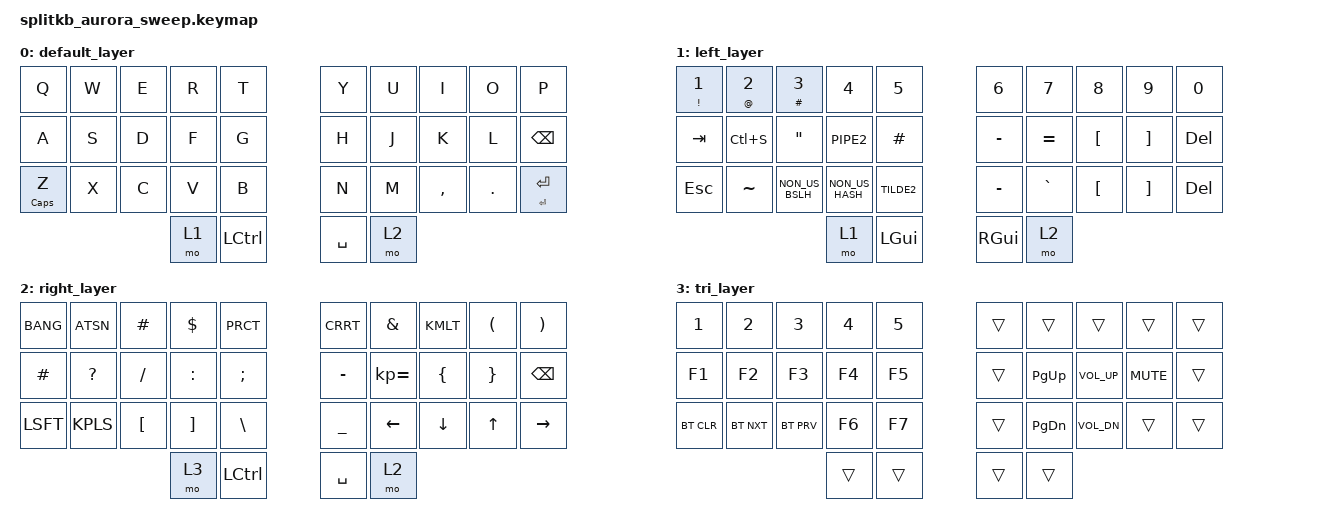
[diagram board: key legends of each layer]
/*
 * Copyright (c) 2022 The ZMK Contributors
 *
 * SPDX-License-Identifier: MIT
 */

#include <behaviors.dtsi>
#include <dt-bindings/zmk/bt.h>
#include <dt-bindings/zmk/keys.h>

&mt {
    //  flavor = "tap-preferred";
    // tapping_term_ms = <200>;
};

/ {
    combos {
        compatible = "zmk,combos";

        combo_esc {
            timeout-ms = <50>;
            key-positions = <0 1>;
            bindings = <&kp ESC>;
        };

        combo_tab {
            timeout-ms = <50>;
            key-positions = <10 11>;
            bindings = <&kp TAB>;
        };

        combo_ralt {
            timeout-ms = <50>;
            key-positions = <17 16>;
            bindings = <&kp RALT>;
        };

        combo_lalt {
            timeout-ms = <50>;
            key-positions = <11 12>;
            bindings = <&kp LALT>;
        };

        combo_lgui {
            timeout-ms = <50>;
            key-positions = <12 13>;
            bindings = <&kp LGUI>;
        };

        combo_rgui {
            timeout-ms = <50>;
            key-positions = <17 18>;
            bindings = <&kp RGUI>;
        };
    };

    keymap {
        compatible = "zmk,keymap";

        default_layer {
            bindings = <
&kp Q           &kp W     &kp E  &kp R  &kp T    &kp Y  &kp U  &kp I      &kp O    &kp P
&kp A           &kp S     &kp D  &kp F  &kp G    &kp H  &kp J  &kp K      &kp L    &kp BACKSPACE
&mt CAPSLOCK Z  &kp X     &kp C  &kp V  &kp B    &kp N  &kp M  &kp COMMA  &kp DOT  &mt RET RET
&mo 1           &kp LCTL                                                  &kp SPC  &mo 2
            >;
        };

        //    __________________________________________________________________________________________________
        //    |       ||       ||       ||       ||       |        |       ||       ||       ||       ||       |
        //    |   1   ||   2   ||   3   ||   4   ||   5   |        |   6   ||   7   ||   8   ||   9   ||   0   |
        //    |       ||       ||       ||       ||       |        |       ||       ||       ||       ||       |
        //    --------------------------------------------------------------------------------------------------
        //    |       ||       ||       ||       ||       |        |       ||       ||       ||       ||       |
        //    |  Tab  ||       ||       ||   |   ||       |        |   -   ||   =   ||   [   ||   ]   || Canc  |
        //    |       ||       ||       ||       ||       |        |       ||       ||       ||       ||       |
        //    --------------------------------------------------------------------------------------------------
        //    |       ||       ||       ||       ||       |        |       ||       ||       ||       ||       |
        //    |  Esc  || Tilde ||       ||       || Tilde2|        |   -   ||   '   ||   (   ||   )   || Canc  |
        //    |       ||       ||       ||       ||       |        |       ||       ||       ||       ||       |
        //    --------------------------------------------------------------------------------------------------
        //                               |       ||       |        |       ||       |
        //                               |       ||       |        |       ||       |
        //                               |       ||       |        |       ||       |
        //                               -------------------------------------------

        left_layer {
            bindings = <
&mt EXCLAMATION NUMBER_1  &mt AT_SIGN NUMBER_2  &mt HASH NUMBER_3  &kp NUMBER_4     &kp N5        &kp NUMBER_6  &kp N7     &kp N8    &kp N9    &kp N0
&kp TAB                   &kp LC(S)             &kp DQT            &kp PIPE2        &kp HASH      &kp MINUS     &kp EQL    &kp LBKT  &kp RBKT  &kp DEL
&kp ESC                   &kp TILDE             &kp NON_US_BSLH    &kp NON_US_HASH  &kp TILDE2    &kp MINUS     &kp GRAVE  &kp LBKT  &kp RBKT  &kp DEL
&mo 1                     &kp LGUI                                                                                                   &kp RGUI  &mo 2
            >;
        };

        //    __________________________________________________________________________________________________
        //    |       ||       ||       ||       ||       |        |       ||       ||       ||       ||       |
        //    |       ||       ||       ||       ||       |        |       ||       ||       ||       ||       |
        //    |       ||       ||       ||       ||       |        |       ||       ||       ||       ||       |
        //    --------------------------------------------------------------------------------------------------
        //    |       ||       ||       ||       ||       |        |       ||       ||       ||       ||       |
        //    |       ||       ||       ||       ||       |        |   -   ||       ||       ||       ||       |
        //    |       ||       ||       ||       ||       |        |       ||       ||       ||       ||       |
        //    --------------------------------------------------------------------------------------------------
        //    |       ||       ||       ||       ||       |        |       ||       ||       ||       ||       |
        //    |       ||       ||       ||       ||       |        |       || Left  ||  Down ||  Up   || Right |
        //    |       ||       ||       ||       ||       |        |       ||       ||       ||       ||       |
        //    --------------------------------------------------------------------------------------------------
        //                               |       ||       |        |       ||       |
        //                               |       ||       |        |       ||       |
        //                               |       ||       |        |       ||       |
        //                               -------------------------------------------

        right_layer {
            bindings = <
&kp BANG  &kp ATSN   &kp HASH  &kp DLLR  &kp PRCT    &kp CRRT   &kp AMPS      &kp KMLT  &kp LPRN  &kp RPRN
&kp HASH  &kp QMARK  &kp FSLH  &kp COLN  &kp SCLN    &kp MINUS  &kp KP_EQUAL  &kp LBRC  &kp RBRC  &kp BKSP
&kp LSFT  &kp KPLS   &kp LBKT  &kp RBKT  &kp BSLH    &kp UNDER  &kp LEFT      &kp DOWN  &kp UP    &kp RIGHT
&mo 3     &kp LCTL                                                                      &kp SPC   &mo 2
            >;
        };

        tri_layer {
            bindings = <
&kp NUM_1   &kp NUM_2   &kp NUM_3   &kp NUM_4  &kp NUM_5    &trans  &trans     &trans        &trans      &trans
&kp F1      &kp F2      &kp F3      &kp F4     &kp F5       &trans  &kp PG_UP  &kp K_VOL_UP  &kp K_MUTE  &trans
&bt BT_CLR  &bt BT_NXT  &bt BT_PRV  &kp F6     &kp F7       &trans  &kp PG_DN  &kp K_VOL_DN  &trans      &trans
&trans      &trans                                                                           &trans      &trans
            >;
        };
    };
};
